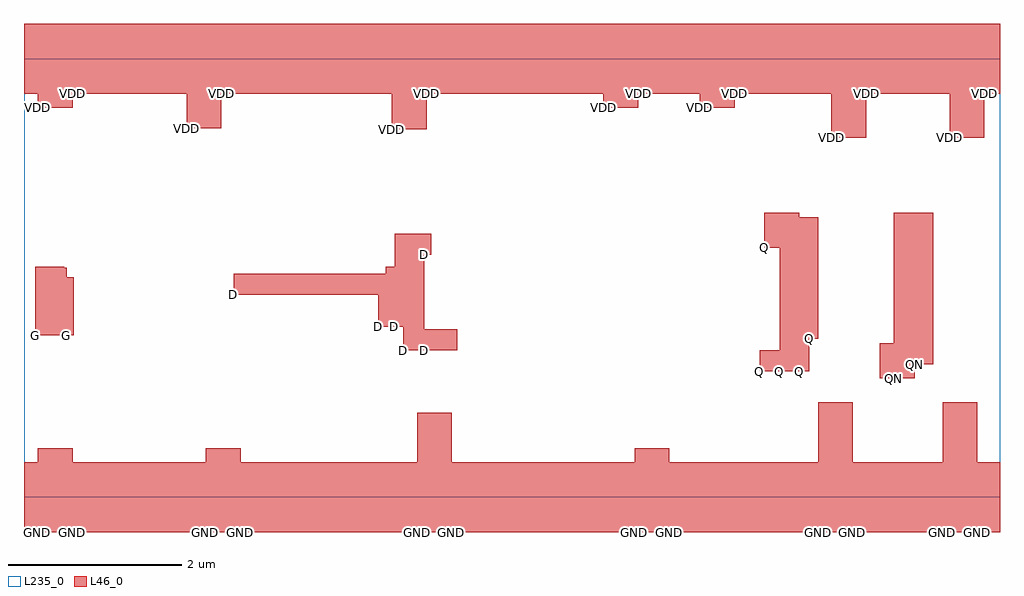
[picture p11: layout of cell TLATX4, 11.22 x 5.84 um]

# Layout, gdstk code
import gdstk
lib = gdstk.Library(unit=1e-6, precision=1e-09)
def R(c, l, rs):  # rectangles x0, y0, x1, y1
    for r in rs: c.add(gdstk.rectangle(r[:2], r[2:], *l))
L46_0 = (46, 0)
L235_0 = (235, 0)

tlatx4 = lib.new_cell('TLATX4')
R(tlatx4, L46_0, [(0,-0.4,0.16,0.4), (0.16,-0.4,0.56,0.56), (0.56,-0.4,2.09,0.4), (2.09,-0.4,2.49,0.56), (2.49,-0.4,4.52,0.4), (4.52,-0.4,4.92,0.97), (4.92,-0.4,7.02,0.4), (7.02,-0.4,7.42,0.56), (7.42,-0.4,9.13,0.4), (9.13,-0.4,9.53,1.09), (9.53,-0.4,10.56,0.4), (10.56,-0.4,10.96,1.09), (10.96,-0.4,11.22,0.4), (9.84,1.37,10,1.77), (10,1.37,10.24,3.27), (8.46,1.45,8.69,1.69), (8.69,1.45,8.91,3.27), (8.91,1.45,9.03,3.22), (10.24,1.53,10.45,3.27), (4.36,1.69,4.6,3.03), (4.6,1.69,4.98,1.93), (9.03,1.82,9.13,3.22), (0.13,1.86,0.46,2.65), (0.46,1.86,0.49,2.64), (0.49,1.86,0.57,2.53), (4.07,1.96,4.16,2.57), (4.16,1.96,4.26,2.65), (4.26,1.96,4.36,3.03), (2.41,2.33,4.07,2.57), (4.6,2.79,4.68,3.03), (8.51,2.87,8.69,3.27), (9.28,4.13,9.68,5.44), (10.64,4.13,11.04,5.44), (4.23,4.23,4.63,5.44), (1.87,4.24,2.27,5.44), (0.16,4.48,0.56,5.44), (6.66,4.48,7.06,5.44), (7.77,4.48,8.17,5.44), (0,4.64,0.16,5.44), (0.56,4.64,1.87,5.44), (2.27,4.64,4.23,5.44), (4.63,4.64,6.66,5.44), (7.06,4.64,7.77,5.44), (8.17,4.64,9.28,5.44), (9.68,4.64,10.64,5.44), (11.04,4.64,11.22,5.44)])
R(tlatx4, L235_0, [(0,0,11.22,5.04)])
tlatx4.add(gdstk.Label('QN', (10.24,1.53), layer=101, texttype=0))
tlatx4.add(gdstk.Label('QN', (10,1.37), layer=101, texttype=0))
tlatx4.add(gdstk.Label('QN', (9.84,1.37), layer=101, texttype=0))
tlatx4.add(gdstk.Label('Q', (9.03,1.82), layer=101, texttype=0))
tlatx4.add(gdstk.Label('Q', (8.91,1.45), layer=101, texttype=0))
tlatx4.add(gdstk.Label('Q', (8.69,1.45), layer=101, texttype=0))
tlatx4.add(gdstk.Label('Q', (8.46,1.45), layer=101, texttype=0))
tlatx4.add(gdstk.Label('Q', (8.51,2.87), layer=101, texttype=0))
tlatx4.add(gdstk.Label('G', (0.49,1.86), layer=101, texttype=0))
tlatx4.add(gdstk.Label('G', (0.46,1.86), layer=101, texttype=0))
tlatx4.add(gdstk.Label('G', (0.13,1.86), layer=101, texttype=0))
tlatx4.add(gdstk.Label('D', (4.6,1.69), layer=101, texttype=0))
tlatx4.add(gdstk.Label('D', (4.6,2.79), layer=101, texttype=0))
tlatx4.add(gdstk.Label('D', (4.36,1.69), layer=101, texttype=0))
tlatx4.add(gdstk.Label('D', (4.26,1.96), layer=101, texttype=0))
tlatx4.add(gdstk.Label('D', (4.16,1.96), layer=101, texttype=0))
tlatx4.add(gdstk.Label('D', (4.07,1.96), layer=101, texttype=0))
tlatx4.add(gdstk.Label('D', (2.41,2.33), layer=101, texttype=0))
tlatx4.add(gdstk.Label('VDD', (11.04,4.64), layer=101, texttype=0))
tlatx4.add(gdstk.Label('VDD', (10.64,4.13), layer=101, texttype=0))
tlatx4.add(gdstk.Label('VDD', (9.68,4.64), layer=101, texttype=0))
tlatx4.add(gdstk.Label('VDD', (9.28,4.13), layer=101, texttype=0))
tlatx4.add(gdstk.Label('VDD', (8.17,4.64), layer=101, texttype=0))
tlatx4.add(gdstk.Label('VDD', (7.77,4.48), layer=101, texttype=0))
tlatx4.add(gdstk.Label('VDD', (7.06,4.64), layer=101, texttype=0))
tlatx4.add(gdstk.Label('VDD', (6.66,4.48), layer=101, texttype=0))
tlatx4.add(gdstk.Label('VDD', (4.63,4.64), layer=101, texttype=0))
tlatx4.add(gdstk.Label('VDD', (4.23,4.23), layer=101, texttype=0))
tlatx4.add(gdstk.Label('VDD', (2.27,4.64), layer=101, texttype=0))
tlatx4.add(gdstk.Label('VDD', (1.87,4.24), layer=101, texttype=0))
tlatx4.add(gdstk.Label('VDD', (0.56,4.64), layer=101, texttype=0))
tlatx4.add(gdstk.Label('VDD', (0.16,4.48), layer=101, texttype=0))
tlatx4.add(gdstk.Label('VDD', (0,4.64), layer=101, texttype=0))
tlatx4.add(gdstk.Label('GND', (10.96,-0.4), layer=101, texttype=0))
tlatx4.add(gdstk.Label('GND', (10.56,-0.4), layer=101, texttype=0))
tlatx4.add(gdstk.Label('GND', (9.53,-0.4), layer=101, texttype=0))
tlatx4.add(gdstk.Label('GND', (9.13,-0.4), layer=101, texttype=0))
tlatx4.add(gdstk.Label('GND', (7.42,-0.4), layer=101, texttype=0))
tlatx4.add(gdstk.Label('GND', (7.02,-0.4), layer=101, texttype=0))
tlatx4.add(gdstk.Label('GND', (4.92,-0.4), layer=101, texttype=0))
tlatx4.add(gdstk.Label('GND', (4.52,-0.4), layer=101, texttype=0))
tlatx4.add(gdstk.Label('GND', (2.49,-0.4), layer=101, texttype=0))
tlatx4.add(gdstk.Label('GND', (2.09,-0.4), layer=101, texttype=0))
tlatx4.add(gdstk.Label('GND', (0.56,-0.4), layer=101, texttype=0))
tlatx4.add(gdstk.Label('GND', (0.16,-0.4), layer=101, texttype=0))
tlatx4.add(gdstk.Label('GND', (0,-0.4), layer=101, texttype=0))

lib.write_gds('TLATX4.gds')
